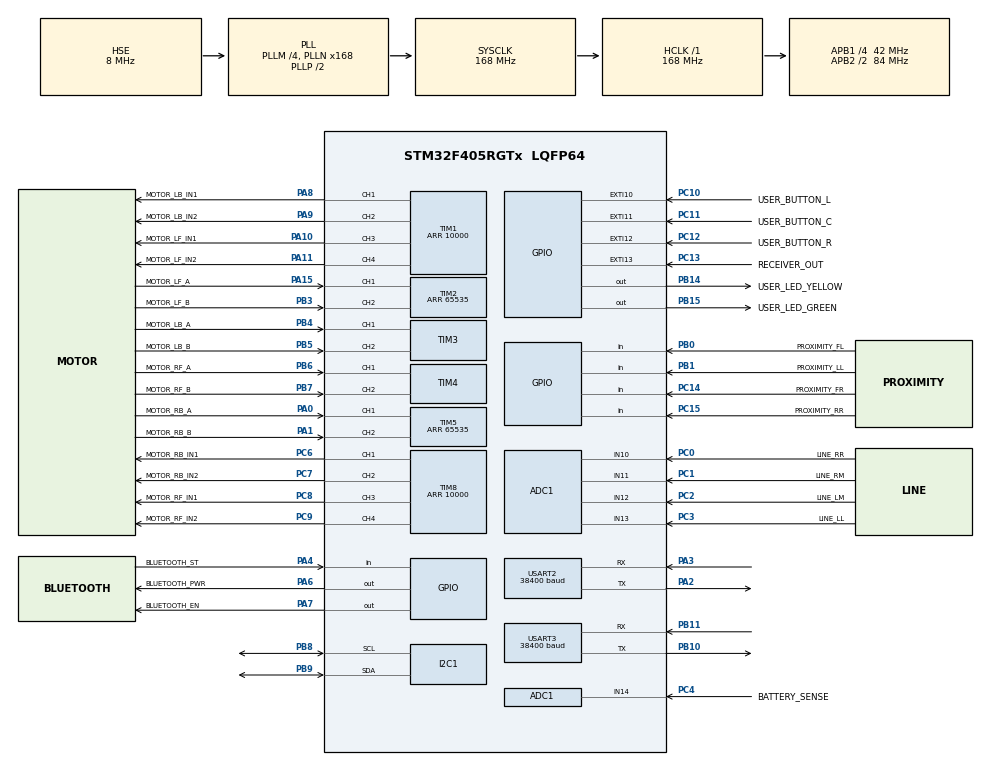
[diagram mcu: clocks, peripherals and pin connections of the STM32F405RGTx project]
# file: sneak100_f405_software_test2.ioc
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ADC1.Channel-1\#ChannelRegularConversion=ADC_CHANNEL_10
ADC1.Channel-2\#ChannelRegularConversion=ADC_CHANNEL_11
ADC1.Channel-3\#ChannelRegularConversion=ADC_CHANNEL_12
ADC1.Channel-4\#ChannelRegularConversion=ADC_CHANNEL_13
ADC1.Channel-5\#ChannelRegularConversion=ADC_CHANNEL_14
ADC1.Channel-6\#ChannelRegularConversion=ADC_CHANNEL_TEMPSENSOR
ADC1.ContinuousConvMode=ENABLE
ADC1.DMAContinuousRequests=ENABLE
ADC1.NbrOfConversion=6
ADC1.NbrOfConversionFlag=1
ADC1.Rank-1\#ChannelRegularConversion=1
ADC1.Rank-2\#ChannelRegularConversion=2
ADC1.Rank-3\#ChannelRegularConversion=3
ADC1.Rank-4\#ChannelRegularConversion=4
ADC1.Rank-5\#ChannelRegularConversion=5
ADC1.Rank-6\#ChannelRegularConversion=6
ADC1.SamplingTime-1\#ChannelRegularConversion=ADC_SAMPLETIME_480CYCLES
ADC1.SamplingTime-2\#ChannelRegularConversion=ADC_SAMPLETIME_480CYCLES
ADC1.SamplingTime-3\#ChannelRegularConversion=ADC_SAMPLETIME_480CYCLES
ADC1.SamplingTime-4\#ChannelRegularConversion=ADC_SAMPLETIME_480CYCLES
ADC1.SamplingTime-5\#ChannelRegularConversion=ADC_SAMPLETIME_480CYCLES
ADC1.SamplingTime-6\#ChannelRegularConversion=ADC_SAMPLETIME_480CYCLES
ADC1.ScanConvMode=ENABLE
ADC1.master=1
Dma.ADC1.0.Direction=DMA_PERIPH_TO_MEMORY
Dma.ADC1.0.FIFOMode=DMA_FIFOMODE_DISABLE
Dma.ADC1.0.Instance=DMA2_Stream0
Dma.ADC1.0.MemDataAlignment=DMA_MDATAALIGN_HALFWORD
Dma.ADC1.0.MemInc=DMA_MINC_ENABLE
Dma.ADC1.0.Mode=DMA_CIRCULAR
Dma.ADC1.0.PeriphDataAlignment=DMA_PDATAALIGN_HALFWORD
Dma.ADC1.0.PeriphInc=DMA_PINC_DISABLE
Dma.ADC1.0.Priority=DMA_PRIORITY_LOW
Dma.Request0=ADC1
Dma.Request1=USART2_RX
Dma.Request2=USART3_RX
Dma.USART2_RX.1.Direction=DMA_PERIPH_TO_MEMORY
Dma.USART2_RX.1.FIFOMode=DMA_FIFOMODE_DISABLE
Dma.USART2_RX.1.Instance=DMA1_Stream5
Dma.USART2_RX.1.MemDataAlignment=DMA_MDATAALIGN_BYTE
Dma.USART2_RX.1.MemInc=DMA_MINC_ENABLE
Dma.USART2_RX.1.Mode=DMA_NORMAL
Dma.USART2_RX.1.PeriphDataAlignment=DMA_PDATAALIGN_BYTE
Dma.USART2_RX.1.PeriphInc=DMA_PINC_DISABLE
Dma.USART2_RX.1.Priority=DMA_PRIORITY_LOW
Dma.USART3_RX.2.Direction=DMA_PERIPH_TO_MEMORY
Dma.USART3_RX.2.FIFOMode=DMA_FIFOMODE_DISABLE
Dma.USART3_RX.2.Instance=DMA1_Stream1
Dma.USART3_RX.2.MemDataAlignment=DMA_MDATAALIGN_BYTE
Dma.USART3_RX.2.MemInc=DMA_MINC_ENABLE
Dma.USART3_RX.2.Mode=DMA_NORMAL
Dma.USART3_RX.2.PeriphDataAlignment=DMA_PDATAALIGN_BYTE
Dma.USART3_RX.2.PeriphInc=DMA_PINC_DISABLE
Dma.USART3_RX.2.Priority=DMA_PRIORITY_LOW
I2C1.I2C_Mode=I2C_Fast
Mcu.Family=STM32F4
Mcu.Name=STM32F405RGTx
Mcu.Package=LQFP64
NVIC.DMA1_Stream1_IRQn=true\:0\:0\:false\:false\:true\:false\:true
NVIC.DMA1_Stream5_IRQn=true\:0\:0\:false\:false\:true\:false\:true
NVIC.DMA2_Stream0_IRQn=true\:0\:0\:false\:false\:true\:false\:true
NVIC.EXTI15_10_IRQn=true\:0\:0\:false\:false\:true\:true\:true
NVIC.PriorityGroup=NVIC_PRIORITYGROUP_4
NVIC.TIM6_DAC_IRQn=true\:0\:0\:false\:false\:true\:false\:true
NVIC.TIM7_IRQn=true\:0\:0\:false\:false\:true\:true\:true
NVIC.TIM8_TRG_COM_TIM14_IRQn=true\:0\:0\:false\:false\:true\:true\:true
NVIC.TimeBase=TIM6_DAC_IRQn
NVIC.TimeBaseIP=TIM6
NVIC.USART2_IRQn=true\:0\:0\:false\:false\:true\:true\:true
NVIC.USART3_IRQn=true\:0\:0\:false\:false\:true\:true\:true
PA0-WKUP.GPIO_Label=MOTOR_RB_A
PA0-WKUP.Signal=S_TIM5_CH1
PA1.GPIO_Label=MOTOR_RB_B
PA1.Signal=S_TIM5_CH2
PA10.GPIO_Label=MOTOR_LF_IN1
PA10.Signal=S_TIM1_CH3
PA11.GPIO_Label=MOTOR_LF_IN2
PA11.Signal=S_TIM1_CH4
PA13.Mode=Serial_Wire
PA13.Signal=SYS_JTMS-SWDIO
PA14.Mode=Serial_Wire
PA14.Signal=SYS_JTCK-SWCLK
PA15.GPIO_Label=MOTOR_LF_A
PA15.Signal=S_TIM2_CH1_ETR
PA2.Mode=Asynchronous
PA2.Signal=USART2_TX
PA3.Mode=Asynchronous
PA3.Signal=USART2_RX
PA4.GPIO_Label=BLUETOOTH_ST
PA4.GPIO_PuPd=GPIO_PULLDOWN
PA4.Signal=GPIO_Input
PA6.GPIO_Label=BLUETOOTH_PWR
PA6.GPIO_ModeDefaultOutputPP=GPIO_MODE_OUTPUT_OD
PA6.Signal=GPIO_Output
PA7.GPIO_Label=BLUETOOTH_EN
PA7.Signal=GPIO_Output
PA8.GPIO_Label=MOTOR_LB_IN1
PA8.Signal=S_TIM1_CH1
PA9.GPIO_Label=MOTOR_LB_IN2
PA9.Signal=S_TIM1_CH2
PB0.GPIO_Label=PROXIMITY_FL
PB0.GPIO_PuPd=GPIO_PULLUP
PB0.Signal=GPIO_Input
PB1.GPIO_Label=PROXIMITY_LL
PB1.GPIO_PuPd=GPIO_PULLUP
PB1.Signal=GPIO_Input
PB10.Mode=Asynchronous
PB10.Signal=USART3_TX
PB11.Mode=Asynchronous
PB11.Signal=USART3_RX
PB14.GPIO_Label=USER_LED_YELLOW
PB14.Signal=GPIO_Output
PB15.GPIO_Label=USER_LED_GREEN
PB15.Signal=GPIO_Output
PB3.GPIO_Label=MOTOR_LF_B
PB3.Signal=S_TIM2_CH2
PB4.GPIO_Label=MOTOR_LB_A
PB4.Signal=S_TIM3_CH1
PB5.GPIO_Label=MOTOR_LB_B
PB5.Signal=S_TIM3_CH2
PB6.GPIO_Label=MOTOR_RF_A
PB6.Signal=S_TIM4_CH1
PB7.GPIO_Label=MOTOR_RF_B
PB7.Signal=S_TIM4_CH2
PB8.Mode=I2C
PB8.Signal=I2C1_SCL
PB9.Mode=I2C
PB9.Signal=I2C1_SDA
PC0.GPIO_Label=LINE_RR
PC0.Signal=ADCx_IN10
PC1.GPIO_Label=LINE_RM
PC1.Signal=ADCx_IN11
PC10.GPIO_Label=USER_BUTTON_L
PC10.GPIO_ModeDefaultEXTI=GPIO_MODE_IT_RISING_FALLING
PC10.Signal=GPXTI10
PC11.GPIO_Label=USER_BUTTON_C
PC11.GPIO_ModeDefaultEXTI=GPIO_MODE_IT_RISING_FALLING
PC11.Signal=GPXTI11
PC12.GPIO_Label=USER_BUTTON_R
PC12.GPIO_ModeDefaultEXTI=GPIO_MODE_IT_RISING_FALLING
PC12.Signal=GPXTI12
PC13-ANTI_TAMP.GPIO_Label=RECEIVER_OUT
PC13-ANTI_TAMP.GPIO_ModeDefaultEXTI=GPIO_MODE_IT_RISING_FALLING
PC13-ANTI_TAMP.Signal=GPXTI13
PC14-OSC32_IN.GPIO_Label=PROXIMITY_FR
PC14-OSC32_IN.GPIO_PuPd=GPIO_PULLUP
PC14-OSC32_IN.Signal=GPIO_Input
PC15-OSC32_OUT.GPIO_Label=PROXIMITY_RR
PC15-OSC32_OUT.GPIO_PuPd=GPIO_PULLUP
PC15-OSC32_OUT.Signal=GPIO_Input
PC2.GPIO_Label=LINE_LM
PC2.Signal=ADCx_IN12
PC3.GPIO_Label=LINE_LL
PC3.Signal=ADCx_IN13
PC4.GPIO_Label=BATTERY_SENSE
PC4.Signal=ADCx_IN14
PC6.GPIO_Label=MOTOR_RB_IN1
PC6.Signal=S_TIM8_CH1
PC7.GPIO_Label=MOTOR_RB_IN2
PC7.Signal=S_TIM8_CH2
PC8.GPIO_Label=MOTOR_RF_IN1
PC8.Signal=S_TIM8_CH3
PC9.GPIO_Label=MOTOR_RF_IN2
PC9.Signal=S_TIM8_CH4
PH0-OSC_IN.Mode=HSE-External-Oscillator
PH0-OSC_IN.Signal=RCC_OSC_IN
PH1-OSC_OUT.Mode=HSE-External-Oscillator
PH1-OSC_OUT.Signal=RCC_OSC_OUT
ProjectManager.HeapSize=0x200
ProjectManager.StackSize=0x400
ProjectManager.TargetToolchain=STM32CubeIDE
RCC.48MHZClocksFreq_Value=84000000
RCC.AHBFreq_Value=168000000
RCC.APB1CLKDivider=RCC_HCLK_DIV4
RCC.APB1Freq_Value=42000000
RCC.APB1TimFreq_Value=84000000
RCC.APB2CLKDivider=RCC_HCLK_DIV2
RCC.APB2Freq_Value=84000000
RCC.APB2TimFreq_Value=168000000
RCC.CortexFreq_Value=168000000
RCC.HCLKFreq_Value=168000000
RCC.HSE_VALUE=8000000
RCC.HSI_VALUE=16000000
RCC.LSE_VALUE=32768
RCC.PLLM=4
RCC.PLLN=168
RCC.PLLSourceVirtual=RCC_PLLSOURCE_HSE
RCC.SYSCLKFreq_VALUE=168000000
RCC.SYSCLKSource=RCC_SYSCLKSOURCE_PLLCLK
RCC.VCOOutputFreq_Value=336000000
SH.ADCx_IN10.0=ADC1_IN10,IN10
SH.ADCx_IN11.0=ADC1_IN11,IN11
SH.ADCx_IN12.0=ADC1_IN12,IN12
SH.ADCx_IN13.0=ADC1_IN13,IN13
SH.ADCx_IN14.0=ADC1_IN14,IN14
SH.S_TIM1_CH1.0=TIM1_CH1,PWM Generation1 CH1
SH.S_TIM1_CH2.0=TIM1_CH2,PWM Generation2 CH2
SH.S_TIM1_CH3.0=TIM1_CH3,PWM Generation3 CH3
SH.S_TIM1_CH4.0=TIM1_CH4,PWM Generation4 CH4
SH.S_TIM2_CH1_ETR.0=TIM2_CH1,Encoder_Interface
SH.S_TIM2_CH2.0=TIM2_CH2,Encoder_Interface
SH.S_TIM3_CH1.0=TIM3_CH1,Encoder_Interface
SH.S_TIM3_CH2.0=TIM3_CH2,Encoder_Interface
SH.S_TIM4_CH1.0=TIM4_CH1,Encoder_Interface
SH.S_TIM4_CH2.0=TIM4_CH2,Encoder_Interface
SH.S_TIM5_CH1.0=TIM5_CH1,Encoder_Interface
SH.S_TIM5_CH2.0=TIM5_CH2,Encoder_Interface
SH.S_TIM8_CH1.0=TIM8_CH1,PWM Generation1 CH1
SH.S_TIM8_CH2.0=TIM8_CH2,PWM Generation2 CH2
SH.S_TIM8_CH3.0=TIM8_CH3,PWM Generation3 CH3
SH.S_TIM8_CH4.0=TIM8_CH4,PWM Generation4 CH4
TIM1.Channel-PWM\ Generation1\ CH1=TIM_CHANNEL_1
TIM1.Channel-PWM\ Generation2\ CH2=TIM_CHANNEL_2
TIM1.Channel-PWM\ Generation3\ CH3=TIM_CHANNEL_3
TIM1.Channel-PWM\ Generation4\ CH4=TIM_CHANNEL_4
TIM1.Period=10000
TIM14.Period=2500
TIM14.Prescaler=1679
TIM2.CounterMode=TIM_COUNTERMODE_UP
TIM2.EncoderMode=TIM_ENCODERMODE_TI12
TIM2.Period=65535
TIM3.CounterMode=TIM_COUNTERMODE_UP
TIM3.EncoderMode=TIM_ENCODERMODE_TI12
TIM4.EncoderMode=TIM_ENCODERMODE_TI12
TIM5.CounterMode=TIM_COUNTERMODE_UP
TIM5.EncoderMode=TIM_ENCODERMODE_TI12
TIM5.Period=65535
TIM7.Prescaler=83
TIM8.Channel-PWM\ Generation1\ CH1=TIM_CHANNEL_1
TIM8.Channel-PWM\ Generation2\ CH2=TIM_CHANNEL_2
TIM8.Channel-PWM\ Generation3\ CH3=TIM_CHANNEL_3
TIM8.Channel-PWM\ Generation4\ CH4=TIM_CHANNEL_4
TIM8.Period=10000
USART2.BaudRate=38400
USART2.VirtualMode=VM_ASYNC
USART3.BaudRate=38400
USART3.VirtualMode=VM_ASYNC
VP_ADC1_TempSens_Input.Mode=IN-TempSens
VP_SYS_VS_tim6.Mode=TIM6
VP_TIM14_VS_ClockSourceINT.Mode=Enable_Timer
VP_TIM7_VS_ClockSourceINT.Mode=Enable_Timer
board=custom

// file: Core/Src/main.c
/* USER CODE BEGIN Header */
/**
  ******************************************************************************
  * @file           : main.c
  * @brief          : Main program body
  ******************************************************************************
  * @attention
  *
  * <h2><center>&copy; Copyright (c) 2021 STMicroelectronics.
  * All rights reserved.</center></h2>
  *
  * This software component is licensed by ST under BSD 3-Clause license,
  * the "License"; You may not use this file except in compliance with the
  * License. You may obtain a copy of the License at:
  *                        opensource.org/licenses/BSD-3-Clause
  *
  ******************************************************************************
  */
/* USER CODE END Header */
#include "main.h"
#include "adc.h"
#include "dma.h"
#include "i2c.h"
#include "tim.h"
#include "usart.h"
#include "gpio.h"

/* USER CODE BEGIN Includes */

#include "core.h"
#include "gui.h"
#include "cli.h"

/* USER CODE END Includes */

void SystemClock_Config(void);

int main(void)
{

  /* MCU Configuration--------------------------------------------------------*/

  /* Reset of all peripherals, Initializes the Flash interface and the Systick. */
  HAL_Init();

  /* Configure the system clock */
  SystemClock_Config();

  /* Initialize all configured peripherals */
  MX_GPIO_Init();
  MX_DMA_Init();
  MX_ADC1_Init();
  MX_I2C1_Init();
  MX_USART2_UART_Init();
  MX_USART3_UART_Init();
  MX_TIM1_Init();
  MX_TIM2_Init();
  MX_TIM3_Init();
  MX_TIM4_Init();
  MX_TIM5_Init();
  MX_TIM7_Init();
  MX_TIM8_Init();
  MX_TIM14_Init();
  /* USER CODE BEGIN 2 */

	SNEAK100_Core_Init();

	SNEAK100_GUI_Init();
	SNEAK100_CLI_Init();

	HAL_TIM_Base_Start_IT(&htim14);

  /* USER CODE END 2 */

  /* Infinite loop */
  /* USER CODE BEGIN WHILE */
  while(1) {

	  SNEAK100_GUI_Update();
	  SNEAK100_CLI_Update();
	  SNEAK100_Core_Update();

    /* USER CODE END WHILE */

  }
}

void SystemClock_Config(void)
{
  RCC_OscInitTypeDef RCC_OscInitStruct = {0};
  RCC_ClkInitTypeDef RCC_ClkInitStruct = {0};

  /** Configure the main internal regulator output voltage
  */
  __HAL_RCC_PWR_CLK_ENABLE();
  __HAL_PWR_VOLTAGESCALING_CONFIG(PWR_REGULATOR_VOLTAGE_SCALE1);
  /** Initializes the RCC Oscillators according to the specified parameters
  * in the RCC_OscInitTypeDef structure.
  */
  RCC_OscInitStruct.OscillatorType = RCC_OSCILLATORTYPE_HSE;
  RCC_OscInitStruct.HSEState = RCC_HSE_ON;
  RCC_OscInitStruct.PLL.PLLState = RCC_PLL_ON;
  RCC_OscInitStruct.PLL.PLLSource = RCC_PLLSOURCE_HSE;
  RCC_OscInitStruct.PLL.PLLM = 4;
  RCC_OscInitStruct.PLL.PLLN = 168;
  RCC_OscInitStruct.PLL.PLLP = RCC_PLLP_DIV2;
  RCC_OscInitStruct.PLL.PLLQ = 4;
  if (HAL_RCC_OscConfig(&RCC_OscInitStruct) != HAL_OK)
  {
    Error_Handler();
  }
  /** Initializes the CPU, AHB and APB buses clocks
  */
  RCC_ClkInitStruct.ClockType = RCC_CLOCKTYPE_HCLK|RCC_CLOCKTYPE_SYSCLK
                              |RCC_CLOCKTYPE_PCLK1|RCC_CLOCKTYPE_PCLK2;
  RCC_ClkInitStruct.SYSCLKSource = RCC_SYSCLKSOURCE_PLLCLK;
  RCC_ClkInitStruct.AHBCLKDivider = RCC_SYSCLK_DIV1;
  RCC_ClkInitStruct.APB1CLKDivider = RCC_HCLK_DIV4;
  RCC_ClkInitStruct.APB2CLKDivider = RCC_HCLK_DIV2;

  if (HAL_RCC_ClockConfig(&RCC_ClkInitStruct, FLASH_LATENCY_5) != HAL_OK)
  {
    Error_Handler();
  }
}

/* USER CODE BEGIN 4 */

void HAL_GPIO_EXTI_Callback(uint16_t GPIO_Pin) {
	DecoderRC5_EXTI_Callback(&core.decoder_rc5, GPIO_Pin);
}

void HAL_UART_RxCpltCallback(UART_HandleTypeDef *huart) {
	RxBufferUART_RxCpltCallback(&core.bluetooth.buffer, huart);
}

uint32_t last_time = 0;
uint32_t delta_time = 0;

/* USER CODE END 4 */

 /**
  * @brief  Period elapsed callback in non blocking mode
  * @note   This function is called  when TIM6 interrupt took place, inside
  * HAL_TIM_IRQHandler(). It makes a direct call to HAL_IncTick() to increment
  * a global variable "uwTick" used as application time base.
  * @param  htim : TIM handle
  * @retval None
  */
void HAL_TIM_PeriodElapsedCallback(TIM_HandleTypeDef *htim)
{
  /* USER CODE BEGIN Callback 0 */

	DecoderRC5_PeriodElapsedCallback(&core.decoder_rc5, htim);

	if(htim->Instance==TIM14) {
		// 20 Hz
		SNEAK100_Core_UpdateRequest();
		SNEAK100_GUI_UpdateRequest();
		SNEAK100_CLI_UpdateRequest();

		delta_time = HAL_GetTick() - last_time;
		last_time = HAL_GetTick();
	}

  /* USER CODE END Callback 0 */
  if (htim->Instance == TIM6) {
    HAL_IncTick();
  }
}

void Error_Handler(void)
{
  __disable_irq();
  while (1)
  {
  }
}

/************************ (C) COPYRIGHT STMicroelectronics *****END OF FILE****/
